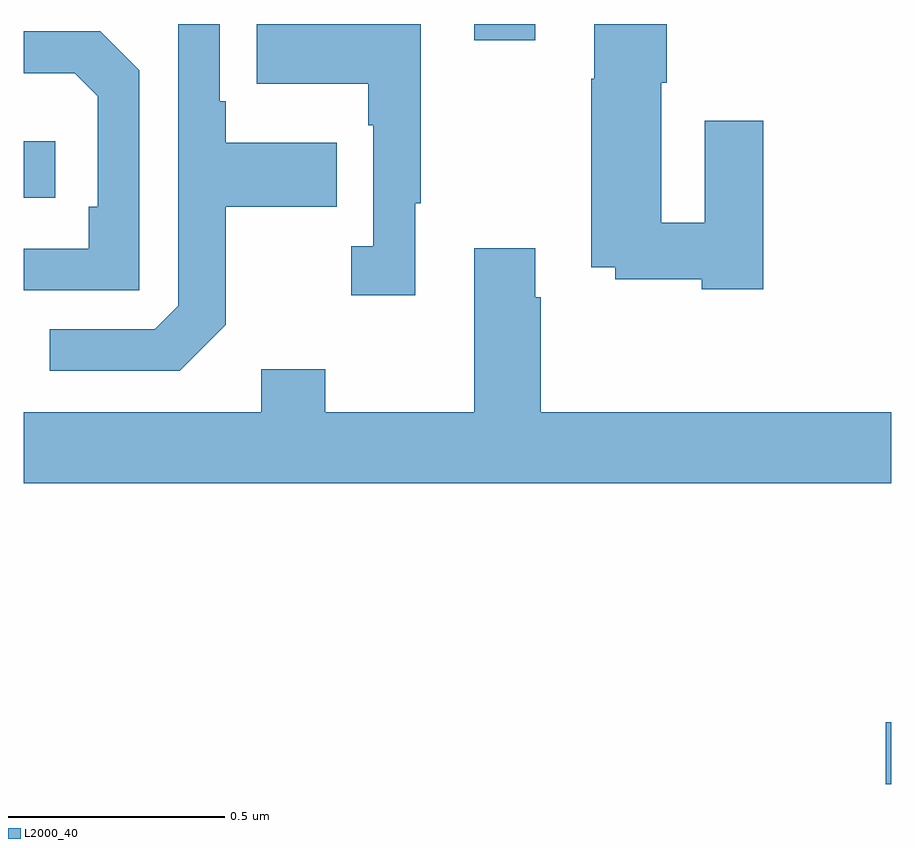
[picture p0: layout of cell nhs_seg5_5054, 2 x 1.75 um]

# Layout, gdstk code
import gdstk
lib = gdstk.Library(unit=1e-6, precision=1e-09)
def R(c, l, rs):  # rectangles x0, y0, x1, y1
    for r in rs: c.add(gdstk.rectangle(r[:2], r[2:], *l))
def P(c, l, *ps):  # polygons
    for p in ps: c.add(gdstk.Polygon(p, *l))
L2000_40 = (2000, 40)

nhs_seg5_5054 = lib.new_cell('nhs_seg5_5054')
R(nhs_seg5_5054, L2000_40, [(179.988,876.046,180,876.188), (178,877.398,178.072,877.528), (179.039,877.761,179.179,877.799)])
P(nhs_seg5_5054, L2000_40, [(178.903,877.385),(178.915,877.385),(178.915,877.799),(178.537,877.799),(178.537,877.661),(178.794,877.661),(178.794,877.565),(178.806,877.565),(178.806,877.286),(178.755,877.286),(178.755,877.173),(178.903,877.173)],
  [(178.465,877.105),(178.465,877.378),(178.721,877.378),(178.721,877.525),(178.465,877.525),(178.465,877.621),(178.452,877.621),(178.452,877.799),(178.356,877.799),(178.356,877.149),(178.302,877.095),(178.059,877.095),(178.059,876.999),(178.359,876.999)],
  [(179.705,877.576),(179.57,877.576),(179.57,877.34),(179.47,877.34),(179.47,877.663),(179.483,877.663),(179.483,877.799),(179.315,877.799),(179.315,877.673),(179.308,877.673),(179.308,877.238),(179.364,877.238),(179.364,877.21),(179.563,877.21),(179.563,877.187),(179.705,877.187)],
  [(178.266,877.692),(178.176,877.782),(178,877.782),(178,877.685),(178.117,877.685),(178.17,877.632),(178.17,877.378),(178.15,877.378),(178.15,877.281),(178,877.281),(178,877.185),(178.266,877.185)],
  [(180,876.904),(179.192,876.904),(179.192,877.169),(179.179,877.169),(179.179,877.282),(179.039,877.282),(179.039,876.904),(178.695,876.904),(178.695,877.003),(178.547,877.003),(178.547,876.904),(178,876.904),(178,876.74),(180,876.74)])

lib.write_gds('nhs_seg5_5054.gds')
